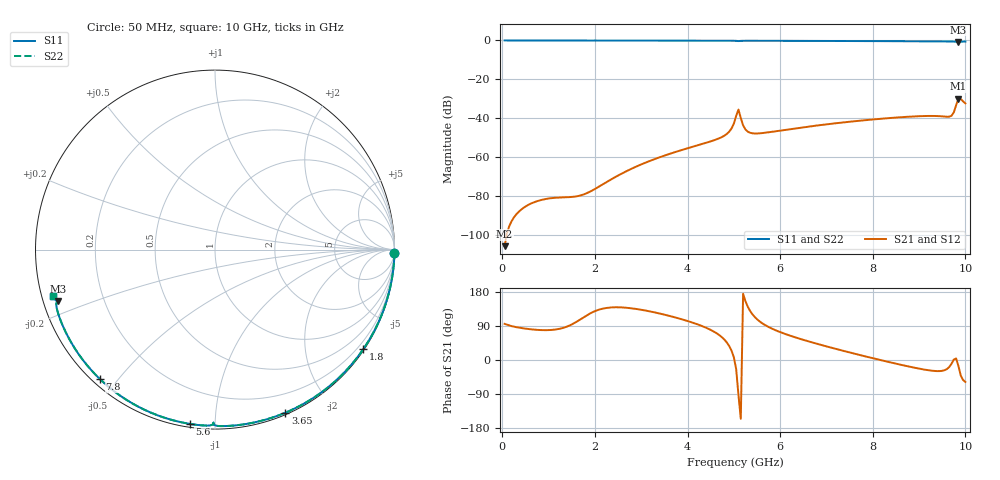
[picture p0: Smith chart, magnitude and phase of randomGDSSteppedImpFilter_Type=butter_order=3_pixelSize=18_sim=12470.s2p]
! freq	dB(S11)	phase(S11)	dB(S12)	phase(S12)
!  dB(S21)	phase(S21)	dB(S22)	phase(S22)
!S-par simulation data
#  GHz  S  DB  R 50
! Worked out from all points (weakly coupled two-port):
!   200 points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, 50 MHz to 10 GHz, reference 50 ohm
!   highest |S21| = -29.81 dB at 9.85 GHz (marker M1); lowest = -105.6 dB at 50 MHz (marker M2)
!   lowest |S11| = -0.7 dB at 9.85 GHz (marker M3), VSWR 23.78, Z = 2.16 - j7.97 ohm
!   |S11| at or under -10 dB: nowhere
!   |S22| runs from -0.7 to 0.0 dB; largest |S21 - S12| = 0
!   S11 on the Smith chart (normalised r, x): 50 MHz: open; 1.8 GHz: 0.03, -3.28; 3.65 GHz: 0.02, -1.52; 5.6 GHz: 0.02, -0.86; 7.8 GHz: 0.02, -0.45; 10 GHz: 0.03, -0.14
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0.05  -0.00 -1.0  -105.64 95.3  -105.64 95.3  -0.00 -1.0
1.6  -0.04 -30.2  -80.06 100.6  -80.06 100.6  -0.04 -30.2
1.75  -0.04 -32.9  -79.14 112.2  -79.14 112.2  -0.04 -32.9
1.8  -0.04 -33.9  -78.68 116.0  -78.68 116.0  -0.04 -33.9
2.7  -0.06 -50.1  -66.91 137.6  -66.91 137.6  -0.06 -50.1
3.4  -0.08 -62.4  -59.97 122.6  -59.97 122.6  -0.08 -62.4
3.65  -0.09 -66.7  -57.95 115.1  -57.95 115.1  -0.09 -66.7
4.8  -0.13 -85.9  -48.82 53.2  -48.82 53.2  -0.13 -85.9
4.95  -0.14 -88.4  -45.21 24.7  -45.21 24.7  -0.14 -88.4
5  -0.16 -89.4  -42.72 7.2  -42.72 7.2  -0.16 -89.4
5.05  -0.21 -90.4  -38.72 -23.7  -38.72 -23.7  -0.21 -90.4
5.1  -0.32 -90.5  -35.52 -92.6  -35.52 -92.6  -0.32 -90.5
5.2  -0.17 -91.7  -43.59 174.8  -43.59 174.8  -0.17 -91.7
5.3  -0.16 -93.5  -46.82 140.8  -46.82 140.8  -0.16 -93.5
5.6  -0.17 -98.3  -47.60 98.0  -47.60 98.0  -0.17 -98.3
6.7  -0.23 -115.2  -43.96 46.1  -43.96 46.1  -0.23 -115.2
7.8  -0.31 -131.6  -41.02 10.7  -41.02 10.7  -0.31 -131.6
8.35  -0.36 -139.8  -39.87 -5.4  -39.87 -5.4  -0.36 -139.8
9.65  -0.53 -159.5  -39.15 -18.7  -39.15 -18.7  -0.53 -159.5
9.75  -0.59 -161.2  -36.94 1.1  -36.94 1.1  -0.59 -161.2
9.85  -0.73 -161.9  -29.81 -16.1  -29.81 -16.1  -0.73 -161.9
10  -0.57 -163.9  -32.33 -57.9  -32.33 -57.9  -0.57 -163.9
